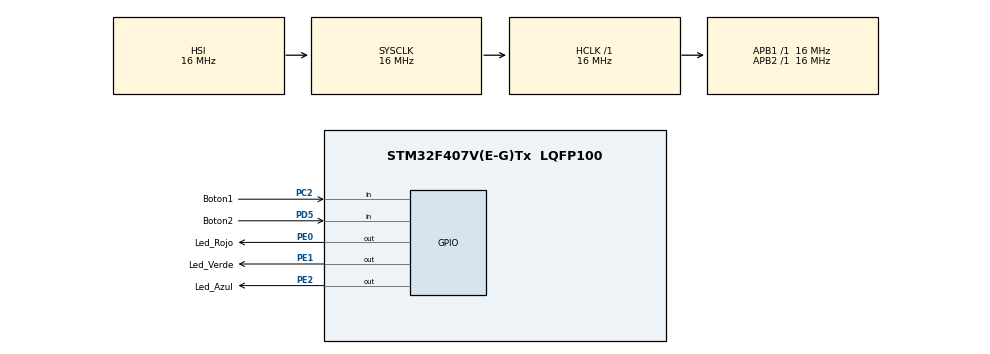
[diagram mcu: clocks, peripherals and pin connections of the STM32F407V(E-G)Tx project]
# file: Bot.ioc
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Mcu.Family=STM32F4
Mcu.Name=STM32F407V(E-G)Tx
Mcu.Package=LQFP100
NVIC.PriorityGroup=NVIC_PRIORITYGROUP_4
PC2.GPIO_Label=Boton1
PC2.GPIO_PuPd=GPIO_PULLUP
PC2.Signal=GPIO_Input
PD5.GPIO_Label=Boton2
PD5.Signal=GPIO_Input
PE0.GPIO_Label=Led_Rojo
PE0.PinState=GPIO_PIN_SET
PE0.Signal=GPIO_Output
PE1.GPIO_Label=Led_Verde
PE1.PinState=GPIO_PIN_SET
PE1.Signal=GPIO_Output
PE2.GPIO_Label=Led_Azul
PE2.PinState=GPIO_PIN_SET
PE2.Signal=GPIO_Output
ProjectManager.HeapSize=0x200
ProjectManager.StackSize=0x400
ProjectManager.TargetToolchain=TrueSTUDIO
RCC.AHBFreq_Value=16000000
RCC.APB1Freq_Value=16000000
RCC.APB2Freq_Value=16000000
RCC.CortexFreq_Value=16000000
RCC.HSE_VALUE=25000000
RCC.HSI_VALUE=16000000
RCC.LSE_VALUE=32768
RCC.SYSCLKFreq_VALUE=16000000
RCC.VCOOutputFreq_Value=192000000
board=Bot

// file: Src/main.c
/**
  ******************************************************************************
  * File Name          : main.c
  * Description        : Main program body
  ******************************************************************************
  ** This notice applies to any and all portions of this file
  * that are not between comment pairs USER CODE BEGIN and
  * USER CODE END. Other portions of this file, whether
  * inserted by the user or by software development tools
  * are owned by their respective copyright owners.
  *
  * COPYRIGHT(c) 2017 STMicroelectronics
  *
  * Redistribution and use in source and binary forms, with or without modification,
  * are permitted provided that the following conditions are met:
  *   1. Redistributions of source code must retain the above copyright notice,
  *      this list of conditions and the following disclaimer.
  *   2. Redistributions in binary form must reproduce the above copyright notice,
  *      this list of conditions and the following disclaimer in the documentation
  *      and/or other materials provided with the distribution.
  *   3. Neither the name of STMicroelectronics nor the names of its contributors
  *      may be used to endorse or promote products derived from this software
  *      without specific prior written permission.
  *
  * THIS SOFTWARE IS PROVIDED BY THE COPYRIGHT HOLDERS AND CONTRIBUTORS "AS IS"
  * AND ANY EXPRESS OR IMPLIED WARRANTIES, INCLUDING, BUT NOT LIMITED TO, THE
  * IMPLIED WARRANTIES OF MERCHANTABILITY AND FITNESS FOR A PARTICULAR PURPOSE ARE
  * DISCLAIMED. IN NO EVENT SHALL THE COPYRIGHT HOLDER OR CONTRIBUTORS BE LIABLE
  * FOR ANY DIRECT, INDIRECT, INCIDENTAL, SPECIAL, EXEMPLARY, OR CONSEQUENTIAL
  * DAMAGES (INCLUDING, BUT NOT LIMITED TO, PROCUREMENT OF SUBSTITUTE GOODS OR
  * SERVICES; LOSS OF USE, DATA, OR PROFITS; OR BUSINESS INTERRUPTION) HOWEVER
  * CAUSED AND ON ANY THEORY OF LIABILITY, WHETHER IN CONTRACT, STRICT LIABILITY,
  * OR TORT (INCLUDING NEGLIGENCE OR OTHERWISE) ARISING IN ANY WAY OUT OF THE USE
  * OF THIS SOFTWARE, EVEN IF ADVISED OF THE POSSIBILITY OF SUCH DAMAGE.
  *
  ******************************************************************************
  */
#include "main.h"
#include "stm32f4xx_hal.h"

/* USER CODE BEGIN PV */
/* Private variables ---------------------------------------------------------*/

/* USER CODE END PV */

void SystemClock_Config(void);
static void MX_GPIO_Init(void);

/* USER CODE BEGIN PFP */
/* Private function prototypes -----------------------------------------------*/

/* USER CODE END PFP */

int main(void)
{

  /* MCU Configuration----------------------------------------------------------*/

  /* Reset of all peripherals, Initializes the Flash interface and the Systick. */
  HAL_Init();

  /* Configure the system clock */
  SystemClock_Config();

  /* Initialize all configured peripherals */
  MX_GPIO_Init();

  /* Infinite loop */
  while (1)
  {

  /* USER CODE BEGIN 3 */
	 int estado=HAL_GPIO_ReadPin(Boton1_GPIO_Port, Boton1_Pin);
	 int estado2=HAL_GPIO_ReadPin(Boton2_GPIO_Port, Boton2_Pin);
     int a1=GPIO_PIN_SET;
	 int A1=Led_Azul_Pin,R2=Led_Rojo_Pin,V3=Led_Verde_Pin;
	 HAL_GPIO_WritePin(GPIOE, A1, a1);
	 HAL_GPIO_WritePin(GPIOE, R2, a1);
	 HAL_GPIO_WritePin(GPIOE, V3, a1);

	 if(estado==1){
		 LAZO1:
		 if(estado==1){
			 HAL_GPIO_TogglePin(GPIOE, A1);
		     HAL_GPIO_TogglePin(GPIOE, R2);

		 }
		 else {
			 goto LAZO1;
		 }
		 if(estado2==1){
			 LAZO2:
			 if(estado2==1){
				 HAL_GPIO_TogglePin(GPIOE, R2);
			     HAL_GPIO_TogglePin(GPIOE, V3);

			 }
			 else {
				 goto LAZO2;
			 }

   }

  }
  /* USER CODE END 3 */

}

/** System Clock Configuration
*/
void SystemClock_Config(void)
{

  RCC_OscInitTypeDef RCC_OscInitStruct;
  RCC_ClkInitTypeDef RCC_ClkInitStruct;

    /**Configure the main internal regulator output voltage
    */
  __HAL_RCC_PWR_CLK_ENABLE();

  __HAL_PWR_VOLTAGESCALING_CONFIG(PWR_REGULATOR_VOLTAGE_SCALE1);

    /**Initializes the CPU, AHB and APB busses clocks
    */
  RCC_OscInitStruct.OscillatorType = RCC_OSCILLATORTYPE_HSI;
  RCC_OscInitStruct.HSIState = RCC_HSI_ON;
  RCC_OscInitStruct.HSICalibrationValue = 16;
  RCC_OscInitStruct.PLL.PLLState = RCC_PLL_NONE;
  if (HAL_RCC_OscConfig(&RCC_OscInitStruct) != HAL_OK)
  {
    _Error_Handler(__FILE__, __LINE__);
  }

    /**Initializes the CPU, AHB and APB busses clocks
    */
  RCC_ClkInitStruct.ClockType = RCC_CLOCKTYPE_HCLK|RCC_CLOCKTYPE_SYSCLK
                              |RCC_CLOCKTYPE_PCLK1|RCC_CLOCKTYPE_PCLK2;
  RCC_ClkInitStruct.SYSCLKSource = RCC_SYSCLKSOURCE_HSI;
  RCC_ClkInitStruct.AHBCLKDivider = RCC_SYSCLK_DIV1;
  RCC_ClkInitStruct.APB1CLKDivider = RCC_HCLK_DIV1;
  RCC_ClkInitStruct.APB2CLKDivider = RCC_HCLK_DIV1;

  if (HAL_RCC_ClockConfig(&RCC_ClkInitStruct, FLASH_LATENCY_0) != HAL_OK)
  {
    _Error_Handler(__FILE__, __LINE__);
  }

    /**Configure the Systick interrupt time
    */
  HAL_SYSTICK_Config(HAL_RCC_GetHCLKFreq()/1000);

    /**Configure the Systick
    */
  HAL_SYSTICK_CLKSourceConfig(SYSTICK_CLKSOURCE_HCLK);

  /* SysTick_IRQn interrupt configuration */
  HAL_NVIC_SetPriority(SysTick_IRQn, 0, 0);
}

/** Configure pins as
        * Analog
        * Input
        * Output
        * EVENT_OUT
        * EXTI
*/
static void MX_GPIO_Init(void)
{

  GPIO_InitTypeDef GPIO_InitStruct;

  /* GPIO Ports Clock Enable */
  __HAL_RCC_GPIOE_CLK_ENABLE();
  __HAL_RCC_GPIOC_CLK_ENABLE();
  __HAL_RCC_GPIOD_CLK_ENABLE();

  /*Configure GPIO pin Output Level */
  HAL_GPIO_WritePin(GPIOE, Led_Azul_Pin|Led_Rojo_Pin|Led_Verde_Pin, GPIO_PIN_SET);

  /*Configure GPIO pins : Led_Azul_Pin Led_Rojo_Pin Led_Verde_Pin */
  GPIO_InitStruct.Pin = Led_Azul_Pin|Led_Rojo_Pin|Led_Verde_Pin;
  GPIO_InitStruct.Mode = GPIO_MODE_OUTPUT_PP;
  GPIO_InitStruct.Pull = GPIO_NOPULL;
  GPIO_InitStruct.Speed = GPIO_SPEED_FREQ_LOW;
  HAL_GPIO_Init(GPIOE, &GPIO_InitStruct);

  /*Configure GPIO pin : Boton1_Pin */
  GPIO_InitStruct.Pin = Boton1_Pin;
  GPIO_InitStruct.Mode = GPIO_MODE_INPUT;
  GPIO_InitStruct.Pull = GPIO_PULLUP;
  HAL_GPIO_Init(Boton1_GPIO_Port, &GPIO_InitStruct);

  /*Configure GPIO pin : Boton2_Pin */
  GPIO_InitStruct.Pin = Boton2_Pin;
  GPIO_InitStruct.Mode = GPIO_MODE_INPUT;
  GPIO_InitStruct.Pull = GPIO_NOPULL;
  HAL_GPIO_Init(Boton2_GPIO_Port, &GPIO_InitStruct);

}

void _Error_Handler(char * file, int line)
{
  while(1)
  {
  }
}

/************************ (C) COPYRIGHT STMicroelectronics *****END OF FILE****/
